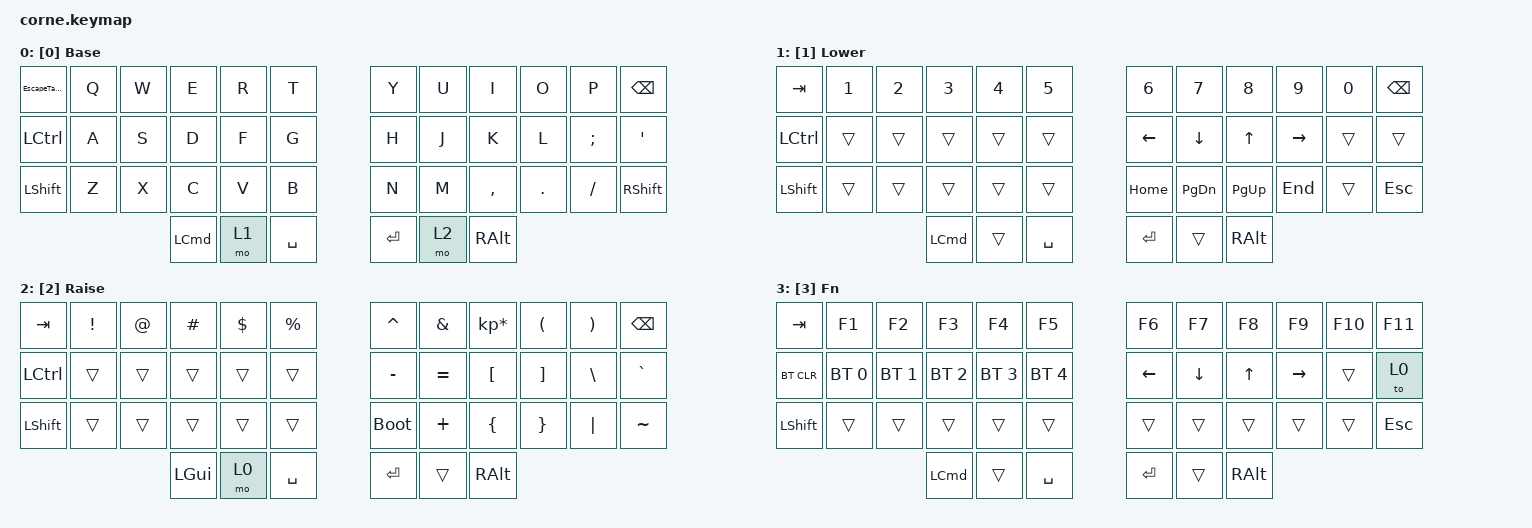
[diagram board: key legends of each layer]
/*
 * Copyright (c) 2020 The ZMK Contributors
 *
 * SPDX-License-Identifier: MIT
 *
 */

#include <behaviors.dtsi>
#include <dt-bindings/zmk/bt.h>
#include <dt-bindings/zmk/keys.h>

/ {
    combos {
        compatible = "zmk,combos";

        RightShift {
            bindings = <&kp LSHIFT>;
            key-positions = <41 35>;
            layers = <0 1 2>;
            timeout-ms = <50>;
        };

        L0_1 {
            bindings = <&to 1>;
            key-positions = <37 29>;
            timeout-ms = <50>;
            layers = <0>;
        };

        L1_2 {
            bindings = <&to 2>;
            key-positions = <37 29>;
            timeout-ms = <50>;
            layers = <1>;
        };

        L2_3 {
            bindings = <&to 3>;
            key-positions = <37 29>;
            timeout-ms = <50>;
            layers = <2>;
        };

        L3_0 {
            bindings = <&to 0>;
            key-positions = <37 29>;
            timeout-ms = <50>;
            layers = <3>;
        };
    };

    behaviors {
        EscapeTapDance: EscapeTapDance {
            compatible = "zmk,behavior-tap-dance";
            label = "ESCAPETAPDANCE";
            #binding-cells = <0>;
            bindings = <&kp TAB>, <&kp ESC>, <&kp ESC>;

            tapping-term-ms = <200>;
        };

        cmd_layers: cmd_layers {
            compatible = "zmk,behavior-tap-dance";
            label = "CMD_LAYERS";
            #binding-cells = <0>;
            bindings = <&kp LEFT_COMMAND>, <&to 1>, <&to 2>, <&to 3>, <&to 0>;
        };
    };

    keymap {
        compatible = "zmk,keymap";

        default_layer {
            // -----------------------------------------------------------------------------------------
            // |  TAB |  Q  |  W  |  E  |  R  |  T  |   |  Y  |  U   |  I  |  O  |  P  | BKSP |
            // | CTRL |  A  |  S  |  D  |  F  |  G  |   |  H  |  J   |  K  |  L  |  ;  |  '   |
            // | SHFT |  Z  |  X  |  C  |  V  |  B  |   |  N  |  M   |  ,  |  .  |  /  | ESC  |
            //                    | GUI | LWR | SPC |   | ENT | RSE  | ALT |

            label = "[0] Base";
            bindings = <
&EscapeTapDance  &kp Q  &kp W  &kp E             &kp R  &kp T        &kp Y    &kp U  &kp I      &kp O    &kp P     &kp BSPC
&kp LCTRL        &kp A  &kp S  &kp D             &kp F  &kp G        &kp H    &kp J  &kp K      &kp L    &kp SEMI  &kp SQT
&kp LSHFT        &kp Z  &kp X  &kp C             &kp V  &kp B        &kp N    &kp M  &kp COMMA  &kp DOT  &kp FSLH  &kp RSHIFT
                               &kp LEFT_COMMAND  &mo 1  &kp SPACE    &kp RET  &mo 2  &kp RALT
            >;
        };

        lower_layer {
            // -----------------------------------------------------------------------------------------
            // |  TAB |  1  |  2  |  3  |  4  |  5  |   |  6  |  7  |  8  |  9  |  0  | BKSP |
            // | BTCLR| BT1 | BT2 | BT3 | BT4 | BT5 |   | LFT | DWN |  UP | RGT |     |      |
            // | SHFT |     |     |     |     |     |   |     |     |     |     |     |      |
            //                    |BTCLR|     | SPC |   | ENT |     | ALT |

            label = "[1] Lower";
            bindings = <
&kp TAB           &kp N1  &kp N2  &kp N3            &kp N4  &kp N5       &kp N6    &kp N7         &kp N8       &kp N9     &kp N0  &kp BSPC
&kp LEFT_CONTROL  &trans  &trans  &trans            &trans  &trans       &kp LEFT  &kp DOWN       &kp UP       &kp RIGHT  &trans  &trans
&kp LSHFT         &trans  &trans  &trans            &trans  &trans       &kp HOME  &kp PAGE_DOWN  &kp PAGE_UP  &kp END    &trans  &kp ESC
                                  &kp LEFT_COMMAND  &trans  &kp SPACE    &kp RET   &trans         &kp RALT
            >;
        };

        raise_layer {
            // -----------------------------------------------------------------------------------------
            // |  TAB |  !  |  @  |  #  |  $  |  %  |   |  ^  |  &  |  *  |  (  |  )  | BKSP |
            // | CTRL |     |     |     |     |     |   |  -  |  =  |  [  |  ]  |  \  |  `   |
            // | SHFT |     |     |     |     |     |   |  _  |  +  |  {  |  }  | "|" |  ~   |
            //                    | GUI |     | SPC |   | ENT |     | ALT |

            label = "[2] Raise";
            bindings = <
&kp TAB    &kp EXCL  &kp AT  &kp HASH  &kp DLLR  &kp PRCNT    &kp CARET    &kp AMPS   &kp KP_MULTIPLY  &kp LPAR  &kp RPAR  &kp BSPC
&kp LCTRL  &trans    &trans  &trans    &trans    &trans       &kp MINUS    &kp EQUAL  &kp LBKT         &kp RBKT  &kp BSLH  &kp GRAVE
&kp LSHFT  &trans    &trans  &trans    &trans    &trans       &bootloader  &kp PLUS   &kp LBRC         &kp RBRC  &kp PIPE  &kp TILDE
                             &kp LGUI  &mo 0     &kp SPACE    &kp RET      &trans     &kp RALT
            >;
        };

        funcional_layer_3 {
            label = "[3] Fn";
            bindings = <
&kp TAB     &kp F1        &kp F2        &kp F3            &kp F4        &kp F5          &kp F6    &kp F7    &kp F8    &kp F9     &kp F10  &kp F11
&bt BT_CLR  &bt BT_SEL 0  &bt BT_SEL 1  &bt BT_SEL 2      &bt BT_SEL 3  &bt BT_SEL 4    &kp LEFT  &kp DOWN  &kp UP    &kp RIGHT  &trans   &to 0
&kp LSHFT   &trans        &trans        &trans            &trans        &trans          &trans    &trans    &trans    &trans     &trans   &kp ESC
                                        &kp LEFT_COMMAND  &trans        &kp SPACE       &kp RET   &trans    &kp RALT
            >;
        };
    };
};
